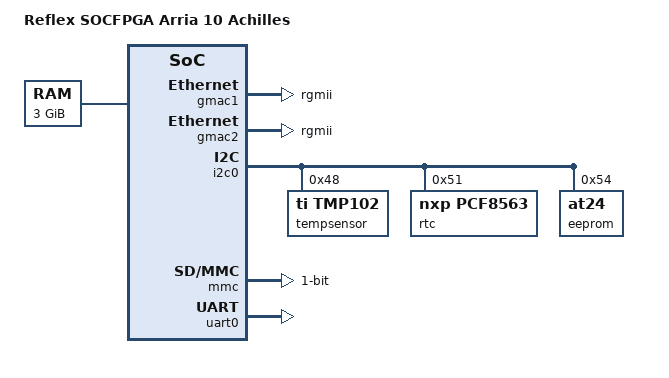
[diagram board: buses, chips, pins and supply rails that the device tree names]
/*
 * Copyright (C) 2015 Altera Corporation <www.altera.com>
 *
 * This program is free software; you can redistribute it and/or modify
 * it under the terms of the GNU General Public License as published by
 * the Free Software Foundation; either version 2 of the License, or
 * (at your option) any later version.
 *
 * This program is distributed in the hope that it will be useful,
 * but WITHOUT ANY WARRANTY; without even the implied warranty of
 * MERCHANTABILITY or FITNESS FOR A PARTICULAR PURPOSE.  See the
 * GNU General Public License for more details.
 *
 * You should have received a copy of the GNU General Public License
 * along with this program.  If not, see <http://www.gnu.org/licenses/>.
 */
/dts-v1/;
#include <arm/socfpga_arria10.dtsi>

/ {
	model = "Reflex SOCFPGA Arria 10 Achilles";
	compatible = "reflex,achilles", "altr,socfpga-arria10", "altr,socfpga";

	aliases {
		serial0 = &uart0;
		state = &state;
	};

	chosen {
		stdout-path = &uart0;

		environment {
			compatible = "barebox,environment";
			device-path = &environment_mmc;
		};
	};

	memory {
		name = "memory";
		device_type = "memory";
		reg = <0x0 0xc0000000>;
	};

	state: state {
		magic = <0x4d433230>;
		compatible = "barebox,state";
		backend-type = "raw";
		backend = <&state_mmc>;
		backend-stridesize = <1024>;
		#address-cells = <1>;
		#size-cells = <1>;

		bootstate {
			#address-cells = <1>;
			#size-cells = <1>;

			system0 {
				#address-cells = <1>;
				#size-cells = <1>;

				remaining_attempts {
					reg = <0x0 0x4>;
					type = "uint32";
					default = <3>;
				};
				priority {
					reg = <0x4 0x4>;
					type = "uint32";
					default = <21>;
				};
			};

			system1 {
				#address-cells = <1>;
				#size-cells = <1>;

				remaining_attempts {
					reg = <0x10 0x4>;
					type = "uint32";
					default = <3>;
				};
				priority {
					reg = <0x14 0x4>;
					type = "uint32";
					default = <20>;
				};
			};
			factory {
				#address-cells = <1>;
				#size-cells = <1>;

				remaining_attempts {
					reg = <0x20 0x4>;
					type = "uint32";
					default = <3>;
				};
				priority {
					reg = <0x24 0x4>;
					type = "uint32";
					default = <10>;
				};
			};
			last_chosen {
				reg = <0x2C 0x4>;
				type = "uint32";
			};
		};
	};

	bootstate: bootstate {
		compatible = "barebox,bootstate";
		backend-type = "state"; // or "nv", or "efivar"
		backend = <&state>;

		system0 {
			default_attempts = <3>;
		};

		system1 {
			default_attempts = <3>;
		};

		factory {
			default_attempts = <3>;
		};
	};

	soc {
		clkmgr@ffd04000 {
			clocks {
				osc1 {
					clock-frequency = <25000000>;
				};

				cb_intosc_hs_div2_clk {
					clock-frequency = <0>;
				};
				cb_intosc_ls_clk {
					clock-frequency = <60000000>;
				};
				f2s_free_clk {
					clock-frequency = <200000000>;
				};
			};
		};
	};
};

&gmac1 {
	phy-mode = "rgmii";
	phy-addr = <0x00fffff0>; /* probe for phy addr */

	/*
	 * These skews assume the user's FPGA design is adding 600ps of delay
	 * for TX_CLK on Arria 10.
	 *
	 * All skews are offset since hardware skew values for the ksz9031
	 * range from a negative skew to a positive skew.
	 * See the micrel-ksz90x1.txt Documentation file for details.
	 */
	txd0-skew-ps = <0>; /* -420ps */
	txd1-skew-ps = <0>; /* -420ps */
	txd2-skew-ps = <0>; /* -420ps */
	txd3-skew-ps = <0>; /* -420ps */
	rxd0-skew-ps = <420>; /* 0ps */
	rxd1-skew-ps = <420>; /* 0ps */
	rxd2-skew-ps = <420>; /* 0ps */
	rxd3-skew-ps = <420>; /* 0ps */
	txen-skew-ps = <0>; /* -420ps */
	txc-skew-ps = <1860>; /* 960ps */
	rxdv-skew-ps = <420>; /* 0ps */
	rxc-skew-ps = <1680>; /* 780ps */
	max-frame-size = <3800>;
	status = "okay";
};

&gmac2 {
	phy-mode = "rgmii";
	phy-addr = <0x3>;

	status = "okay";

	txd0-skew-ps = <0>; /* -420ps */
	txd1-skew-ps = <0>; /* -420ps */
	txd2-skew-ps = <0>; /* -420ps */
	txd3-skew-ps = <0>; /* -420ps */
	rxd0-skew-ps = <420>; /* 0ps */
	rxd1-skew-ps = <420>; /* 0ps */
	rxd2-skew-ps = <420>; /* 0ps */
	rxd3-skew-ps = <420>; /* 0ps */
	txen-skew-ps = <0>; /* -420ps */
	txc-skew-ps = <1860>; /* 960ps */
	rxdv-skew-ps = <420>; /* 0ps */
	rxc-skew-ps = <1680>; /* 780ps */
	max-frame-size = <3800>;
};

&i2c0 {
	status = "okay";

	tempsensor: ti,tmp102@48 {
		compatible = "ti,tmp102";
		reg = <0x48>;
	};

	rtc: nxp,pcf8563@51 {
		compatible = "nxp,pcf8563";
		reg = <0x51>;
	};

	eeprom: at24@54 {
		compatible = "at24";
		reg = <0x54>;
		bytelen = <256>;
		pagesize = <16>;
	};
};

&mmc {
	supports-highspeed;
	broken-cd;
	bus-width = <1>;
	status = "okay";

	partitions {
		compatible = "fixed-partitions";
		#size-cells = <1>;
		#address-cells = <1>;
		environment_mmc: partition@178000 {
			label = "environment";
			reg = <0x300000 0x8000>;
		};

		state_mmc: partition@180000 {
			label = "state";
			reg = <0x400000 0x8000>;
		};
	};
};

&uart0 {
	reg-io-width = <4>;
	status = "okay";
};
